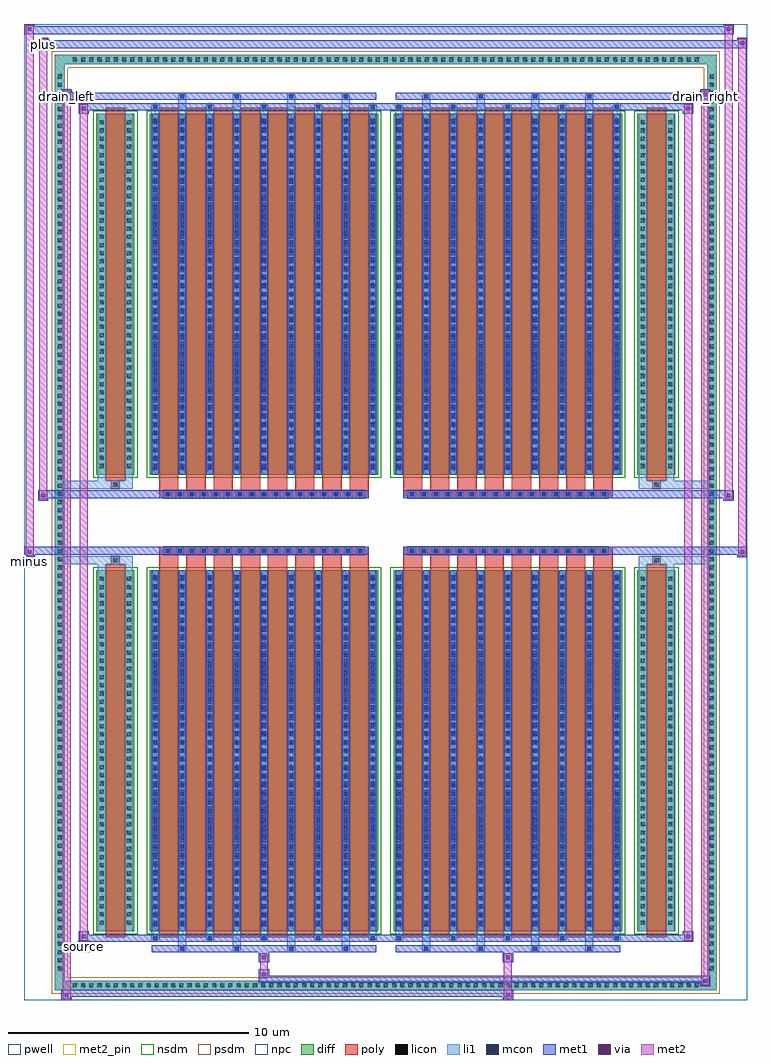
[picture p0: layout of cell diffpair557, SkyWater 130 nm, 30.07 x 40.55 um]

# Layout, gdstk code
import gdstk
lib = gdstk.Library(unit=1e-6, precision=5e-09)
def R(c, l, rs):  # rectangles x0, y0, x1, y1
    for r in rs: c.add(gdstk.rectangle(r[:2], r[2:], *l))
def A(c, l, x, y, w, h, nx, ny, dx, dy):  # array of equal rectangles
    R(c, l, [(x+i*dx, y+j*dy, x+i*dx+w, y+j*dy+h) for i in range(nx) for j in range(ny)])
def P(c, l, *ps):  # polygons
    for p in ps: c.add(gdstk.Polygon(p, *l))
pwell = (64, 44)
diff = (65, 20)
poly = (66, 20)
licon = (66, 44)
li1 = (67, 20)
mcon = (67, 44)
met1 = (68, 20)
via = (68, 44)
met2_pin = (69, 16)
met2 = (69, 20)
nsdm = (93, 44)
psdm = (94, 20)
npc = (95, 20)

diffpair557 = lib.new_cell('diffpair557')
R(diffpair557, pwell, [(-15.02,-19.84,15.02,20.71), (-12.34,-18.03,-0.01,-0.805), (0.01,-18.03,12.34,-0.805), (-12.34,0.805,-0.01,18.03), (0.01,0.805,12.34,18.03)])
A(diffpair557, diff, -13.125, -19.44, 0.41, 0.41, 77, 2, 0.34, 38.47)
A(diffpair557, diff, -13.75, -18.735, 0.41, 0.41, 1, 110, 0, 0.34)
A(diffpair557, diff, 13.34, -18.735, 0.41, 0.41, 1, 110, 0, 0.34)
R(diffpair557, diff, [(-13.125,-19.44,13.125,-19.03), (-13.75,-18.735,-13.34,18.735), (13.34,-18.735,13.75,18.735), (-12.03,-16.985,-10.45,-1.985), (-9.81,-16.985,-0.32,-1.985), (0.32,-16.985,9.81,-1.985), (10.45,-16.985,12.03,-1.985), (-12.03,1.985,-10.45,16.985), (-9.81,1.985,-0.32,16.985), (0.32,1.985,9.81,16.985), (10.45,1.985,12.03,16.985), (-13.125,19.03,13.125,19.44)])
P(diffpair557, diff, [(13.75,19.44),(-13.75,19.44),(-13.75,-19.03),(-13.34,-19.03),(-13.34,19.03),(13.34,19.03),(13.34,-19.03),(-13.34,-19.03),(-13.75,-19.03),(-13.75,-19.44),(13.75,-19.44)])
A(diffpair557, poly, -9.42, -17.235, 0.8, 15.5, 8, 2, 1.13, 18.97)
A(diffpair557, poly, 0.71, -17.235, 0.8, 15.5, 8, 2, 1.13, 18.97)
A(diffpair557, poly, -9.42, -1.735, 0.8, 0.4, 8, 2, 1.13, 3.07)
A(diffpair557, poly, 0.71, -1.735, 0.8, 0.4, 8, 2, 1.13, 3.07)
A(diffpair557, poly, -9.23, -1.335, 0.33, 0.33, 17, 2, 0.5, 2.34)
A(diffpair557, poly, 0.9, -1.335, 0.33, 0.33, 17, 2, 0.5, 2.34)
R(diffpair557, poly, [(-11.64,-17.235,-10.84,-1.735), (10.84,-17.235,11.64,-1.735), (-11.405,-1.735,-11.075,-1.405), (-11.405,-1.735,-11.075,-1.405), (11.075,-1.735,11.405,-1.405), (11.075,-1.735,11.405,-1.405), (-9.42,-1.335,-0.71,-1.005), (0.71,-1.335,9.42,-1.005), (-9.42,1.005,-0.71,1.335), (0.71,1.005,9.42,1.335), (-11.405,1.405,-11.075,1.735), (-11.405,1.405,-11.075,1.735), (11.075,1.405,11.405,1.735), (11.075,1.405,11.405,1.735), (-11.64,1.735,-10.84,17.235), (10.84,1.735,11.64,17.235)])
A(diffpair557, licon, -13.005, -19.32, 0.17, 0.17, 77, 2, 0.34, 38.47)
A(diffpair557, licon, -13.63, -18.615, 0.17, 0.17, 1, 110, 0, 0.34)
A(diffpair557, licon, 13.46, -18.615, 0.17, 0.17, 1, 110, 0, 0.34)
A(diffpair557, licon, -11.89, -16.71, 0.17, 0.17, 1, 43, 0, 0.34)
A(diffpair557, licon, -10.76, -16.71, 0.17, 0.17, 1, 43, 0, 0.34)
A(diffpair557, licon, -9.67, -16.71, 0.17, 0.17, 9, 43, 1.13, 0.34)
A(diffpair557, licon, 0.46, -16.71, 0.17, 0.17, 9, 43, 1.13, 0.34)
A(diffpair557, licon, 10.59, -16.71, 0.17, 0.17, 1, 43, 0, 0.34)
A(diffpair557, licon, 11.72, -16.71, 0.17, 0.17, 1, 43, 0, 0.34)
A(diffpair557, licon, -9.15, -1.255, 0.17, 0.17, 17, 2, 0.5, 2.34)
A(diffpair557, licon, 0.98, -1.255, 0.17, 0.17, 17, 2, 0.5, 2.34)
A(diffpair557, licon, -11.89, 2.26, 0.17, 0.17, 1, 43, 0, 0.34)
A(diffpair557, licon, -10.76, 2.26, 0.17, 0.17, 1, 43, 0, 0.34)
A(diffpair557, licon, -9.67, 2.26, 0.17, 0.17, 9, 43, 1.13, 0.34)
A(diffpair557, licon, 0.46, 2.26, 0.17, 0.17, 9, 43, 1.13, 0.34)
A(diffpair557, licon, 10.59, 2.26, 0.17, 0.17, 1, 43, 0, 0.34)
A(diffpair557, licon, 11.72, 2.26, 0.17, 0.17, 1, 43, 0, 0.34)
R(diffpair557, licon, [(-11.325,-1.655,-11.155,-1.485), (11.155,-1.655,11.325,-1.485), (-11.325,1.485,-11.155,1.655), (11.155,1.485,11.325,1.655)])
A(diffpair557, li1, -13.085, -19.4, 0.33, 0.33, 77, 2, 0.34, 38.47)
A(diffpair557, li1, -13.71, -18.695, 0.33, 0.33, 1, 110, 0, 0.34)
A(diffpair557, li1, 13.38, -18.695, 0.33, 0.33, 1, 110, 0, 0.34)
A(diffpair557, li1, -8.62, -17.79, 0.33, 0.805, 4, 2, 2.26, 34.775)
A(diffpair557, li1, -8.54, -17.79, 0.17, 0.17, 4, 2, 2.26, 35.41)
A(diffpair557, li1, 1.51, -17.79, 0.33, 0.805, 4, 2, 2.26, 34.775)
A(diffpair557, li1, 1.59, -17.79, 0.17, 0.17, 4, 2, 2.26, 35.41)
A(diffpair557, li1, -9.75, -17.36, 0.33, 0.375, 5, 2, 2.26, 34.345)
A(diffpair557, li1, -9.67, -17.36, 0.17, 0.17, 5, 2, 2.26, 34.55)
A(diffpair557, li1, 0.38, -17.36, 0.33, 0.375, 5, 2, 2.26, 34.345)
A(diffpair557, li1, 0.46, -17.36, 0.17, 0.17, 5, 2, 2.26, 34.55)
A(diffpair557, li1, -9.75, -16.985, 0.33, 15, 9, 2, 1.13, 18.97)
A(diffpair557, li1, 0.38, -16.985, 0.33, 15, 9, 2, 1.13, 18.97)
A(diffpair557, li1, -11.97, -16.79, 0.33, 0.33, 1, 43, 0, 0.34)
A(diffpair557, li1, -10.84, -16.79, 0.33, 0.33, 1, 43, 0, 0.34)
A(diffpair557, li1, -9.75, -16.79, 0.33, 0.33, 9, 43, 1.13, 0.34)
A(diffpair557, li1, 0.38, -16.79, 0.33, 0.33, 9, 43, 1.13, 0.34)
A(diffpair557, li1, 10.51, -16.79, 0.33, 0.33, 1, 43, 0, 0.34)
A(diffpair557, li1, 11.64, -16.79, 0.33, 0.33, 1, 43, 0, 0.34)
A(diffpair557, li1, -9.67, -16.77, 0.17, 0.17, 9, 41, 1.13, 0.36)
A(diffpair557, li1, -9.67, -16.77, 0.17, 14.57, 9, 2, 1.13, 18.97)
A(diffpair557, li1, 0.46, -16.77, 0.17, 0.17, 9, 41, 1.13, 0.36)
A(diffpair557, li1, 0.46, -16.77, 0.17, 14.57, 9, 2, 1.13, 18.97)
A(diffpair557, li1, -9.23, -1.335, 0.33, 0.33, 17, 2, 0.5, 2.34)
A(diffpair557, li1, 0.9, -1.335, 0.33, 0.33, 17, 2, 0.5, 2.34)
A(diffpair557, li1, -11.97, 2.18, 0.33, 0.33, 1, 43, 0, 0.34)
A(diffpair557, li1, -10.84, 2.18, 0.33, 0.33, 1, 43, 0, 0.34)
A(diffpair557, li1, -9.75, 2.18, 0.33, 0.33, 9, 43, 1.13, 0.34)
A(diffpair557, li1, 0.38, 2.18, 0.33, 0.33, 9, 43, 1.13, 0.34)
A(diffpair557, li1, 10.51, 2.18, 0.33, 0.33, 1, 43, 0, 0.34)
A(diffpair557, li1, 11.64, 2.18, 0.33, 0.33, 1, 43, 0, 0.34)
A(diffpair557, li1, -9.67, 2.2, 0.17, 0.17, 9, 41, 1.13, 0.36)
A(diffpair557, li1, 0.46, 2.2, 0.17, 0.17, 9, 41, 1.13, 0.36)
R(diffpair557, li1, [(-13.75,-19.44,-13.34,-19.03), (-13.75,-19.44,-13.34,-19.03), (-13.34,-19.44,13.34,-19.03), (13.34,-19.44,13.75,-19.03), (13.34,-19.44,13.75,-19.03), (-13.75,-19.03,-13.34,19.03), (13.34,-19.03,13.75,19.03), (-11.97,-16.985,-11.64,-1.985), (-10.84,-16.985,-10.51,-1.985), (10.51,-16.985,10.84,-1.985), (11.64,-16.985,11.97,-1.985), (-11.97,-1.985,-11.64,-1.405), (-10.84,-1.985,-10.51,-1.405), (10.51,-1.985,10.84,-1.405), (11.64,-1.985,11.97,-1.405), (-13.75,-1.735,-11.405,-1.405), (-11.97,-1.735,-11.405,-1.405), (-11.405,-1.735,-11.075,-1.405), (-11.075,-1.735,-10.51,-1.405), (10.51,-1.735,11.075,-1.405), (11.075,-1.735,11.405,-1.405), (11.075,-1.735,13.75,-1.405), (11.405,-1.735,11.97,-1.405), (-13.75,1.405,-11.405,1.735), (-11.97,1.405,-11.405,1.735), (-11.97,1.405,-11.64,1.985), (-11.405,1.405,-11.075,1.735), (-11.075,1.405,-10.51,1.735), (-10.84,1.405,-10.51,1.985), (10.51,1.405,11.075,1.735), (10.51,1.405,10.84,1.985), (11.075,1.405,11.405,1.735), (11.075,1.405,13.75,1.735), (11.405,1.405,11.97,1.735), (11.64,1.405,11.97,1.985), (-11.97,1.985,-11.64,16.985), (-10.84,1.985,-10.51,16.985), (10.51,1.985,10.84,16.985), (11.64,1.985,11.97,16.985), (-13.75,19.03,-13.34,19.44), (-13.75,19.03,-13.34,19.44), (-13.34,19.03,13.34,19.44), (13.34,19.03,13.75,19.44), (13.34,19.03,13.75,19.44)])
A(diffpair557, mcon, -8.54, -17.79, 0.17, 0.17, 4, 2, 2.26, 35.41)
A(diffpair557, mcon, 1.59, -17.79, 0.17, 0.17, 4, 2, 2.26, 35.41)
A(diffpair557, mcon, -9.67, -17.36, 0.17, 0.17, 5, 2, 2.26, 34.55)
A(diffpair557, mcon, 0.46, -17.36, 0.17, 0.17, 5, 2, 2.26, 34.55)
A(diffpair557, mcon, -9.67, -16.77, 0.17, 0.17, 9, 41, 1.13, 0.36)
A(diffpair557, mcon, 0.46, -16.77, 0.17, 0.17, 9, 41, 1.13, 0.36)
A(diffpair557, mcon, -9.15, -1.255, 0.17, 0.17, 17, 2, 0.5, 2.34)
A(diffpair557, mcon, 0.98, -1.255, 0.17, 0.17, 17, 2, 0.5, 2.34)
A(diffpair557, mcon, -9.67, 2.2, 0.17, 0.17, 9, 41, 1.13, 0.36)
A(diffpair557, mcon, 0.46, 2.2, 0.17, 0.17, 9, 41, 1.13, 0.36)
A(diffpair557, met1, -8.6, -17.85, 0.29, 0.29, 4, 2, 2.26, 35.41)
A(diffpair557, met1, 1.53, -17.85, 0.29, 0.29, 4, 2, 2.26, 35.41)
A(diffpair557, met1, -9.73, -17.42, 0.29, 0.29, 5, 2, 2.26, 34.55)
A(diffpair557, met1, 0.4, -17.42, 0.29, 0.29, 5, 2, 2.26, 34.55)
A(diffpair557, met1, -9.73, -16.985, 0.29, 15, 9, 2, 1.13, 18.97)
A(diffpair557, met1, 0.4, -16.985, 0.29, 15, 9, 2, 1.13, 18.97)
A(diffpair557, met1, -9.73, -16.83, 0.29, 0.29, 9, 41, 1.13, 0.36)
A(diffpair557, met1, 0.4, -16.83, 0.29, 0.29, 9, 41, 1.13, 0.36)
A(diffpair557, met1, -9.21, -1.315, 0.29, 0.29, 17, 2, 0.5, 2.34)
A(diffpair557, met1, 0.92, -1.315, 0.29, 0.29, 17, 2, 0.5, 2.34)
A(diffpair557, met1, -9.73, 2.14, 0.29, 0.29, 9, 41, 1.13, 0.36)
A(diffpair557, met1, 0.4, 2.14, 0.29, 0.29, 9, 41, 1.13, 0.36)
R(diffpair557, met1, [(-13.48,-19.84,-13.05,-19.41), (4.85,-19.84,5.28,-19.41), (-13.48,-19.7,5.28,-19.41), (13.05,-19.27,13.48,-18.84), (-5.28,-19.13,13.48,-18.84), (-5.28,-18.99,-4.85,-18.56), (-5.28,-18.28,-4.85,-17.85), (4.85,-18.28,5.28,-17.85), (-9.73,-17.85,-0.4,-17.56), (0.4,-17.85,9.73,-17.56), (-12.77,-17.42,-12.34,-16.99), (-12.77,-17.42,-9.73,-17.13), (-9.73,-17.42,-0.4,-17.13), (-0.4,-17.42,0.4,-17.13), (0.4,-17.42,9.73,-17.13), (9.73,-17.42,12.77,-17.13), (12.34,-17.42,12.77,-16.99), (-15.02,-1.435,-14.59,-1.005), (14.59,-1.435,15.02,-1.005), (-15.02,-1.335,-0.71,-1.005), (-9.42,-1.335,-0.71,-1.005), (0.71,-1.335,9.42,-1.005), (0.71,-1.335,15.02,-1.005), (-14.45,0.905,-14.02,1.335), (14.02,0.905,14.45,1.335), (-14.45,1.005,-9.42,1.335), (-9.42,1.005,-0.71,1.335), (0.71,1.005,9.42,1.335), (9.42,1.005,14.45,1.335), (-12.77,16.99,-12.34,17.42), (12.34,16.99,12.77,17.42), (-12.77,17.13,-9.73,17.42), (-9.73,17.13,-0.4,17.42), (-0.4,17.13,0.4,17.42), (0.4,17.13,9.73,17.42), (9.73,17.13,12.77,17.42), (-13.48,17.56,-13.05,17.99), (-13.48,17.56,-9.73,17.85), (-9.73,17.56,-0.4,17.85), (0.4,17.56,9.73,17.85), (9.73,17.56,13.48,17.85), (13.05,17.56,13.48,17.99), (-14.45,19.71,-14.02,20.14), (-14.45,19.71,-12.34,20.04), (-12.34,19.71,12.34,20.04), (12.34,19.71,15.02,20.04), (14.59,19.71,15.02,20.14), (-15.02,20.28,-14.59,20.71), (-15.02,20.28,-12.34,20.61), (-12.34,20.28,12.34,20.61), (12.34,20.28,14.45,20.61), (14.02,20.28,14.45,20.71)])
R(diffpair557, via, [(-13.34,-19.7,-13.19,-19.55), (4.99,-19.7,5.14,-19.55), (13.19,-19.13,13.34,-18.98), (-5.14,-18.85,-4.99,-18.7), (-5.14,-18.14,-4.99,-17.99), (4.99,-18.14,5.14,-17.99), (-12.63,-17.28,-12.48,-17.13), (12.48,-17.28,12.63,-17.13), (-14.88,-1.295,-14.73,-1.145), (14.73,-1.295,14.88,-1.145), (-14.31,1.045,-14.16,1.195), (14.16,1.045,14.31,1.195), (-12.63,17.13,-12.48,17.28), (12.48,17.13,12.63,17.28), (-13.34,17.7,-13.19,17.85), (13.19,17.7,13.34,17.85), (-14.31,19.85,-14.16,20), (14.73,19.85,14.88,20), (-14.88,20.42,-14.73,20.57), (14.16,20.42,14.31,20.57)])
R(diffpair557, met2_pin, [(-12.805,-17.87,-12.305,-17.37), (-15.055,-1.885,-14.555,-1.385), (-13.515,17.44,-13.015,17.94), (13.015,17.44,13.515,17.94), (-14.485,19.59,-13.985,20.09)])
R(diffpair557, met2, [(-13.43,-19.79,-13.1,-19.46), (-13.43,-19.79,-13.1,17.94), (4.9,-19.79,5.23,-19.46), (4.9,-19.46,5.23,-18.23), (13.1,-19.22,13.43,-18.89), (13.1,-19.22,13.43,17.94), (-5.23,-18.94,-4.9,-18.61), (-5.23,-18.61,-4.9,-18.23), (-5.23,-18.23,-4.9,-17.9), (4.9,-18.23,5.23,-17.9), (-12.72,-17.37,-12.39,-17.04), (-12.72,-17.37,-12.39,17.37), (12.39,-17.37,12.72,-17.04), (12.39,-17.37,12.72,17.37), (-14.97,-1.385,-14.64,-1.055), (-14.97,-1.385,-14.64,20.66), (14.64,-1.385,14.97,-1.055), (14.64,-1.385,14.97,20.09), (-14.4,0.955,-14.07,1.285), (-14.4,0.955,-14.07,20.09), (14.07,0.955,14.4,1.285), (14.07,0.955,14.4,20.66), (-12.72,17.04,-12.39,17.37), (12.39,17.04,12.72,17.37), (-13.43,17.61,-13.1,17.94), (13.1,17.61,13.43,17.94), (-14.4,19.76,-14.07,20.09), (14.64,19.76,14.97,20.09), (-14.97,20.33,-14.64,20.66), (14.07,20.33,14.4,20.66)])
P(diffpair557, met2, [(14.97,-1.385),(14.97,-1.385),(14.97,-1.055),(14.97,-1.055)],
  [(14.97,19.76),(14.97,19.76),(14.97,20.09),(14.97,20.09)],
  [(-14.64,-1.385),(-14.64,-1.385),(-14.64,-1.055),(-14.64,-1.055)],
  [(-14.64,20.33),(-14.64,20.33),(-14.64,20.66),(-14.64,20.66)],
  [(14.4,0.955),(14.4,0.955),(14.4,1.285),(14.4,1.285)],
  [(14.4,20.33),(14.4,20.33),(14.4,20.66),(14.4,20.66)],
  [(-14.07,0.955),(-14.07,0.955),(-14.07,1.285),(-14.07,1.285)],
  [(-14.07,19.76),(-14.07,19.76),(-14.07,20.09),(-14.07,20.09)],
  [(-13.1,-19.79),(-13.1,-19.79),(-13.1,-19.46),(-13.1,-19.46)],
  [(-13.1,17.61),(-13.1,17.61),(-13.1,17.94),(-13.1,17.94)],
  [(13.43,-19.22),(13.43,-19.22),(13.43,-18.89),(13.43,-18.89)],
  [(13.43,17.61),(13.43,17.61),(13.43,17.94),(13.43,17.94)],
  [(-12.39,-17.37),(-12.39,-17.37),(-12.39,-17.04),(-12.39,-17.04)],
  [(-12.39,17.04),(-12.39,17.04),(-12.39,17.37),(-12.39,17.37)],
  [(12.72,-17.37),(12.72,-17.37),(12.72,-17.04),(12.72,-17.04)],
  [(12.72,17.04),(12.72,17.04),(12.72,17.37),(12.72,17.37)])
R(diffpair557, nsdm, [(-12.16,-17.115,-10.32,-1.855), (-9.94,-17.115,-0.19,-1.855), (0.19,-17.115,9.94,-1.855), (10.32,-17.115,12.16,-1.855), (-12.16,1.855,-10.32,17.115), (-9.94,1.855,-0.19,17.115), (0.19,1.855,9.94,17.115), (10.32,1.855,12.16,17.115)])
P(diffpair557, psdm, [(13.88,19.57),(-13.88,19.57),(-13.88,-18.9),(-13.21,-18.9),(-13.21,18.9),(13.21,18.9),(13.21,-18.9),(-13.21,-18.9),(-13.88,-18.9),(-13.88,-19.57),(13.88,-19.57)])
A(diffpair557, npc, -9.25, -1.355, 0.37, 0.37, 17, 2, 0.5, 2.34)
A(diffpair557, npc, 0.88, -1.355, 0.37, 0.37, 17, 2, 0.5, 2.34)
R(diffpair557, npc, [(-11.425,-1.755,-11.055,-1.385), (11.055,-1.755,11.425,-1.385), (-9.25,-1.355,-8.38,-0.985), (-9.25,-1.355,-8.38,-0.985), (-8.75,-1.355,-7.88,-0.985), (-8.75,-1.355,-7.88,-0.985), (-8.25,-1.355,-7.38,-0.985), (-8.25,-1.355,-7.38,-0.985), (-7.75,-1.355,-6.88,-0.985), (-7.75,-1.355,-6.88,-0.985), (-7.25,-1.355,-6.38,-0.985), (-7.25,-1.355,-6.38,-0.985), (-6.75,-1.355,-5.88,-0.985), (-6.75,-1.355,-5.88,-0.985), (-6.25,-1.355,-5.38,-0.985), (-6.25,-1.355,-5.38,-0.985), (-5.75,-1.355,-4.88,-0.985), (-5.75,-1.355,-4.88,-0.985), (-5.25,-1.355,-4.38,-0.985), (-5.25,-1.355,-4.38,-0.985), (-4.75,-1.355,-3.88,-0.985), (-4.75,-1.355,-3.88,-0.985), (-4.25,-1.355,-3.38,-0.985), (-4.25,-1.355,-3.38,-0.985), (-3.75,-1.355,-2.88,-0.985), (-3.75,-1.355,-2.88,-0.985), (-3.25,-1.355,-2.38,-0.985), (-3.25,-1.355,-2.38,-0.985), (-2.75,-1.355,-1.88,-0.985), (-2.75,-1.355,-1.88,-0.985), (-2.25,-1.355,-1.38,-0.985), (-2.25,-1.355,-1.38,-0.985), (-1.75,-1.355,-0.88,-0.985), (-1.75,-1.355,-0.88,-0.985), (0.88,-1.355,1.75,-0.985), (0.88,-1.355,1.75,-0.985), (1.38,-1.355,2.25,-0.985), (1.38,-1.355,2.25,-0.985), (1.88,-1.355,2.75,-0.985), (1.88,-1.355,2.75,-0.985), (2.38,-1.355,3.25,-0.985), (2.38,-1.355,3.25,-0.985), (2.88,-1.355,3.75,-0.985), (2.88,-1.355,3.75,-0.985), (3.38,-1.355,4.25,-0.985), (3.38,-1.355,4.25,-0.985), (3.88,-1.355,4.75,-0.985), (3.88,-1.355,4.75,-0.985), (4.38,-1.355,5.25,-0.985), (4.38,-1.355,5.25,-0.985), (4.88,-1.355,5.75,-0.985), (4.88,-1.355,5.75,-0.985), (5.38,-1.355,6.25,-0.985), (5.38,-1.355,6.25,-0.985), (5.88,-1.355,6.75,-0.985), (5.88,-1.355,6.75,-0.985), (6.38,-1.355,7.25,-0.985), (6.38,-1.355,7.25,-0.985), (6.88,-1.355,7.75,-0.985), (6.88,-1.355,7.75,-0.985), (7.38,-1.355,8.25,-0.985), (7.38,-1.355,8.25,-0.985), (7.88,-1.355,8.75,-0.985), (7.88,-1.355,8.75,-0.985), (8.38,-1.355,9.25,-0.985), (8.38,-1.355,9.25,-0.985), (-9.25,0.985,-8.38,1.355), (-9.25,0.985,-8.38,1.355), (-8.75,0.985,-7.88,1.355), (-8.75,0.985,-7.88,1.355), (-8.25,0.985,-7.38,1.355), (-8.25,0.985,-7.38,1.355), (-7.75,0.985,-6.88,1.355), (-7.75,0.985,-6.88,1.355), (-7.25,0.985,-6.38,1.355), (-7.25,0.985,-6.38,1.355), (-6.75,0.985,-5.88,1.355), (-6.75,0.985,-5.88,1.355), (-6.25,0.985,-5.38,1.355), (-6.25,0.985,-5.38,1.355), (-5.75,0.985,-4.88,1.355), (-5.75,0.985,-4.88,1.355), (-5.25,0.985,-4.38,1.355), (-5.25,0.985,-4.38,1.355), (-4.75,0.985,-3.88,1.355), (-4.75,0.985,-3.88,1.355), (-4.25,0.985,-3.38,1.355), (-4.25,0.985,-3.38,1.355), (-3.75,0.985,-2.88,1.355), (-3.75,0.985,-2.88,1.355), (-3.25,0.985,-2.38,1.355), (-3.25,0.985,-2.38,1.355), (-2.75,0.985,-1.88,1.355), (-2.75,0.985,-1.88,1.355), (-2.25,0.985,-1.38,1.355), (-2.25,0.985,-1.38,1.355), (-1.75,0.985,-0.88,1.355), (-1.75,0.985,-0.88,1.355), (0.88,0.985,1.75,1.355), (0.88,0.985,1.75,1.355), (1.38,0.985,2.25,1.355), (1.38,0.985,2.25,1.355), (1.88,0.985,2.75,1.355), (1.88,0.985,2.75,1.355), (2.38,0.985,3.25,1.355), (2.38,0.985,3.25,1.355), (2.88,0.985,3.75,1.355), (2.88,0.985,3.75,1.355), (3.38,0.985,4.25,1.355), (3.38,0.985,4.25,1.355), (3.88,0.985,4.75,1.355), (3.88,0.985,4.75,1.355), (4.38,0.985,5.25,1.355), (4.38,0.985,5.25,1.355), (4.88,0.985,5.75,1.355), (4.88,0.985,5.75,1.355), (5.38,0.985,6.25,1.355), (5.38,0.985,6.25,1.355), (5.88,0.985,6.75,1.355), (5.88,0.985,6.75,1.355), (6.38,0.985,7.25,1.355), (6.38,0.985,7.25,1.355), (6.88,0.985,7.75,1.355), (6.88,0.985,7.75,1.355), (7.38,0.985,8.25,1.355), (7.38,0.985,8.25,1.355), (7.88,0.985,8.75,1.355), (7.88,0.985,8.75,1.355), (8.38,0.985,9.25,1.355), (8.38,0.985,9.25,1.355), (-11.425,1.385,-11.055,1.755), (11.055,1.385,11.425,1.755)])
diffpair557.add(gdstk.Label('minus', (-14.805,-1.635), layer=69, texttype=5))
diffpair557.add(gdstk.Label('drain_right', (13.265,17.69), layer=69, texttype=5))
diffpair557.add(gdstk.Label('drain_left', (-13.265,17.69), layer=69, texttype=5))
diffpair557.add(gdstk.Label('source', (-12.555,-17.62), layer=69, texttype=5))
diffpair557.add(gdstk.Label('plus', (-14.235,19.84), layer=69, texttype=5))

lib.write_gds('diffpair557.gds')
